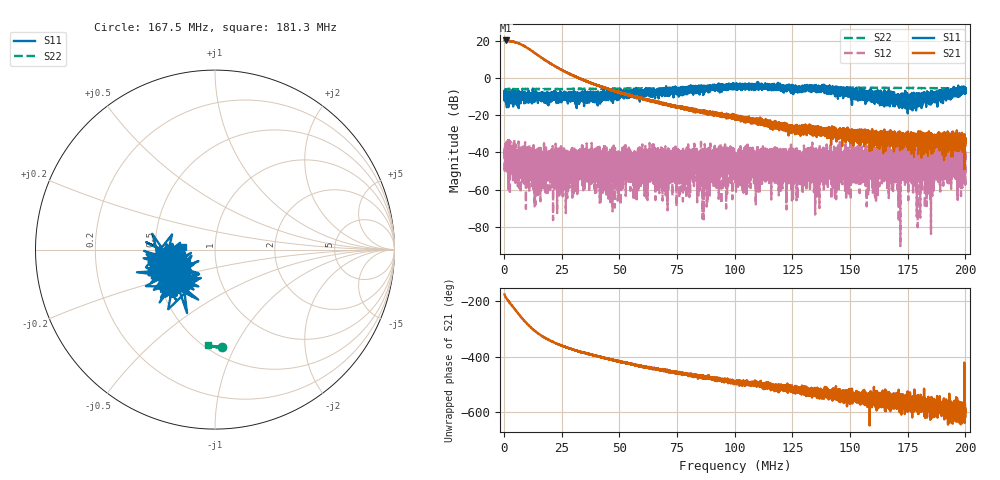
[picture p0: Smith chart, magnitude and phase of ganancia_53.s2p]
# Hz S DB R 50
! CMT, M5065, 19127446, 24.2.4/2
! Date: 10/29/2024 12:48:13 PM
! Data: Format (Calibration Info)
! Freq	S11:dB/Ang(F2)	S21:dB/Ang(F2)	S12:dB/Ang(F2)	S22:dB/Ang(F2)
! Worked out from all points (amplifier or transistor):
!   9000 points, 300 kHz to 200 MHz, reference 50 ohm
!   highest |S21| = 20.2 dB at 766 kHz (marker M1)
!   |S21| within 3 dB of that: start of sweep to 8.826 MHz
!   unconditionally stable (mu >= 1): start of sweep to end of sweep
!   at 33.59 MHz: K = 35.13, MAG = 1.1 dB, |S12| = -39.8 dB
!   at 100.2 MHz: K = 260.25, MAG = -18.4 dB, |S12| = -39.3 dB
!   at 200 MHz: K = 10248.43, MAG = -30.2 dB, |S12| = -58.3 dB
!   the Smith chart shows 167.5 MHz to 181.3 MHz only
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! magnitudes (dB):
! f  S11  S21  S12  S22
! 300 kHz  -11.6  20.2  -37.4  -6.0
! 766 kHz  -11.5  20.2  -37.9  -6.0
! 5.559 MHz  -9.4  19.0  -39.9  -6.0
! 8.4 MHz  -9.1  17.5  -42.7  -5.9
! 13.04 MHz  -8.7  13.8  -41.4  -5.9
! 33.59 MHz  -10.4  -0.6  -39.8  -5.8
! 66.87 MHz  -6.6  -13.2  -50.9  -5.7
! 76.95 MHz  -7.6  -16.4  -52.6  -5.7
! 82.56 MHz  -6.1  -16.6  -40.0  -5.7
! 84.27 MHz  -6.2  -18.0  -44.4  -5.6
! 100.2 MHz  -4.3  -21.9  -39.3  -5.6
! 117.6 MHz  -5.3  -24.5  -40.0  -5.5
! 119.5 MHz  -4.7  -27.1  -55.1  -5.5
! 133.4 MHz  -5.1  -29.0  -39.4  -5.3
! 144.4 MHz  -7.5  -30.8  -45.9  -5.3
! 158.5 MHz  -8.8  -39.3  -49.6  -5.2
! 160.7 MHz  -13.9  -29.9  -42.9  -5.3
! 166.7 MHz  -10.4  -33.1  -40.2  -5.3
! 171 MHz  -11.4  -31.1  -39.9  -5.3
! 173 MHz  -12.4  -30.4  -41.3  -5.4
! 198.6 MHz  -5.7  -33.3  -45.9  -5.5
! 200 MHz  -8.1  -32.3  -58.3  -5.5
